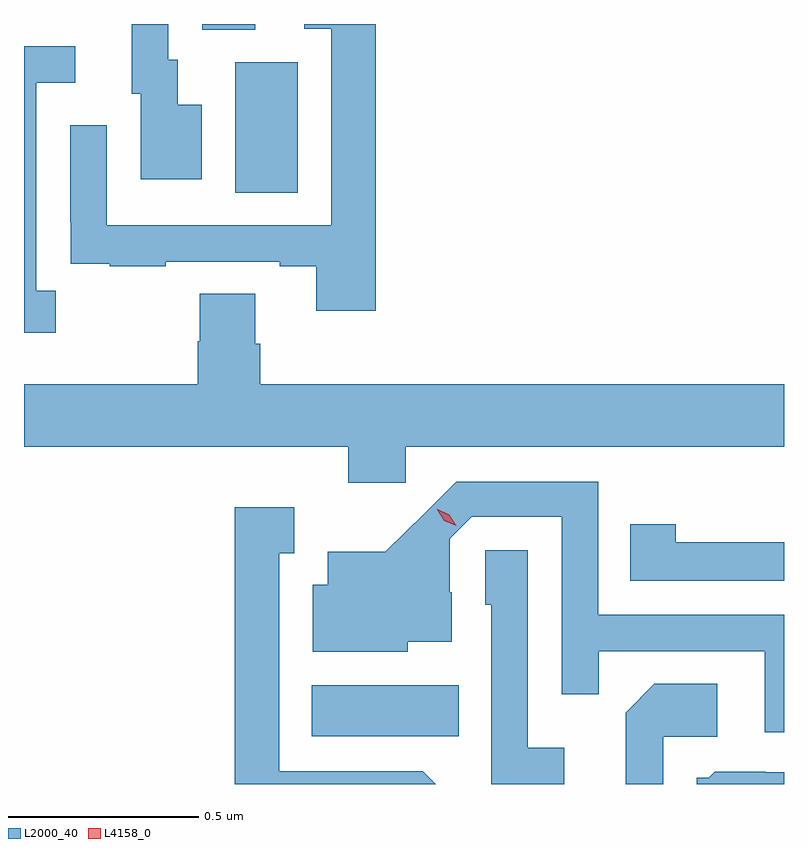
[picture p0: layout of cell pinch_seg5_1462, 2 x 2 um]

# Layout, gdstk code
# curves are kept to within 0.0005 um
import gdstk
lib = gdstk.Library(unit=1e-6, precision=1e-09)
def R(c, l, rs):  # rectangles x0, y0, x1, y1
    for r in rs: c.add(gdstk.rectangle(r[:2], r[2:], *l))
def P(c, l, *ps):  # polygons
    for p in ps: c.add(gdstk.Polygon(p, *l))
L2000_40 = (2000, 40)
L4158_0 = (4158, 0)

pinch_seg5_1462 = lib.new_cell('pinch_seg5_1462')
R(pinch_seg5_1462, L2000_40, [(136.259,905.282,136.646,905.416), (136.058,906.712,136.222,907.056), (135.971,907.141,136.111,907.156)])
P(pinch_seg5_1462, L2000_40, [(136.427,907.156),(136.239,907.156),(136.239,907.143),(136.311,907.143),(136.311,906.627),(135.72,906.627),(135.72,906.889),(135.624,906.889),(135.624,906.634),(135.625,906.634),(135.625,906.525),(135.727,906.525),(135.727,906.519),(135.875,906.519),(135.875,906.531),(136.175,906.531),(136.175,906.519),(136.271,906.519),(136.271,906.402),(136.427,906.402)],
  [(135.97,906.943),(135.907,906.943),(135.907,907.062),(135.882,907.062),(135.882,907.156),(135.785,907.156),(135.785,906.972),(135.809,906.972),(135.809,906.747),(135.97,906.747)],
  [(135.586,906.454),(135.534,906.454),(135.534,907.002),(135.637,907.002),(135.637,907.098),(135.502,907.098),(135.502,906.344),(135.586,906.344)],
  [(135.964,906.446),(135.964,906.321),(135.959,906.321),(135.959,906.208),(135.502,906.208),(135.502,906.044),(136.355,906.044),(136.355,905.949),(136.506,905.949),(136.506,906.044),(137.502,906.044),(137.502,906.208),(136.124,906.208),(136.124,906.314),(136.111,906.314),(136.111,906.446)],
  [(137.502,905.601),(137.013,905.601),(137.013,905.952),(136.64,905.952),(136.453,905.767),(136.301,905.767),(136.301,905.68),(136.262,905.68),(136.262,905.504),(136.512,905.504),(136.512,905.531),(136.627,905.531),(136.627,905.66),(136.623,905.66),(136.623,905.802),(136.68,905.859),(136.917,905.859),(136.917,905.392),(137.015,905.392),(137.015,905.505),(137.451,905.505),(137.451,905.292),(137.502,905.292)],
  [(136.551,905.19),(136.174,905.19),(136.174,905.763),(136.213,905.763),(136.213,905.884),(136.056,905.884),(136.056,905.156),(136.585,905.156)],
  [(137.502,905.792),(137.217,905.792),(137.217,905.839),(137.098,905.839),(137.098,905.691),(137.502,905.691)],
  [(136.924,905.251),(136.827,905.251),(136.827,905.771),(136.716,905.771),(136.716,905.628),(136.731,905.628),(136.731,905.156),(136.924,905.156)],
  [(137.184,905.28),(137.326,905.28),(137.326,905.42),(137.161,905.42),(137.085,905.344),(137.085,905.156),(137.184,905.156)],
  [(137.502,905.187),(137.454,905.187),(137.454,905.188),(137.32,905.188),(137.304,905.172),(137.273,905.172),(137.273,905.156),(137.502,905.156)])
P(pinch_seg5_1462, L4158_0, [(136.639,905.835),(136.608,905.849),(136.59,905.878),(136.59,905.879),(136.591,905.879),(136.621,905.864),(136.639,905.835),(136.639,905.835)])

lib.write_gds('pinch_seg5_1462.gds')
